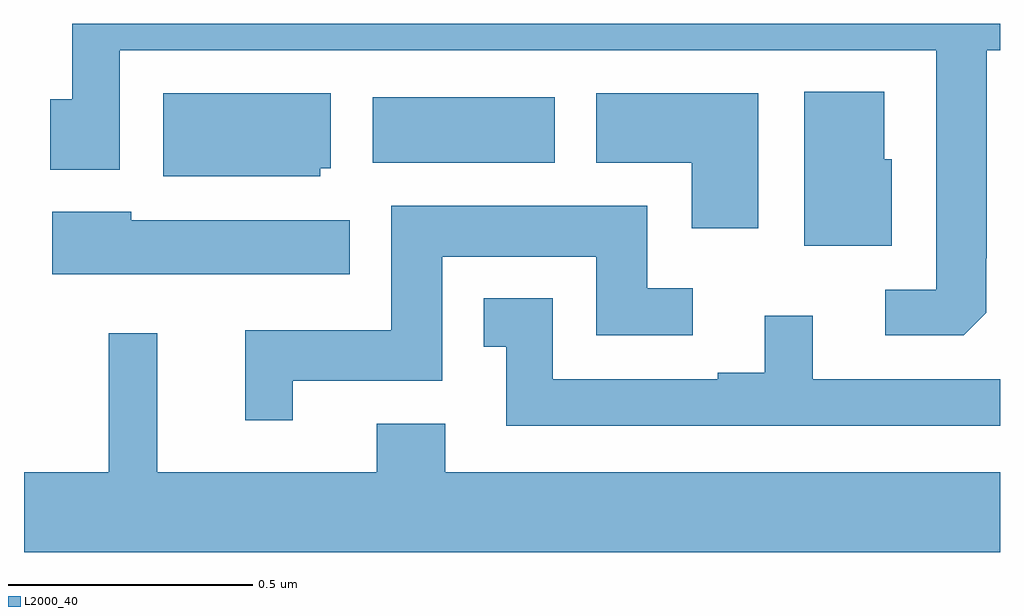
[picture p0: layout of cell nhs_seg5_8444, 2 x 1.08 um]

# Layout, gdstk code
import gdstk
lib = gdstk.Library(unit=1e-6, precision=1e-09)
def R(c, l, rs):  # rectangles x0, y0, x1, y1
    for r in rs: c.add(gdstk.rectangle(r[:2], r[2:], *l))
def P(c, l, *ps):  # polygons
    for p in ps: c.add(gdstk.Polygon(p, *l))
L2000_40 = (2000, 40)

nhs_seg5_8444 = lib.new_cell('nhs_seg5_8444')
R(nhs_seg5_8444, L2000_40, [(221.715,901.514,222.088,901.648)])
P(nhs_seg5_8444, L2000_40, [(222.972,901.207),(222.972,901.318),(222.973,901.318),(222.973,901.745),(223,901.745),(223,901.799),(221.099,901.799),(221.099,901.644),(221.054,901.644),(221.054,901.5),(221.196,901.5),(221.196,901.745),(222.869,901.745),(222.869,901.254),(222.765,901.254),(222.765,901.161),(222.926,901.161)],
  [(222.778,901.521),(222.763,901.521),(222.763,901.66),(222.599,901.66),(222.599,901.344),(222.778,901.344)],
  [(221.607,901.503),(221.629,901.503),(221.629,901.657),(221.285,901.657),(221.285,901.487),(221.607,901.487)],
  [(222.505,901.657),(222.173,901.657),(222.173,901.514),(222.368,901.514),(222.368,901.38),(222.505,901.38)],
  [(221.551,901.067),(221.857,901.067),(221.857,901.322),(222.173,901.322),(222.173,901.161),(222.37,901.161),(222.37,901.257),(222.277,901.257),(222.277,901.426),(221.753,901.426),(221.753,901.171),(221.453,901.171),(221.453,900.987),(221.551,900.987)],
  [(221.668,901.396),(221.22,901.396),(221.22,901.414),(221.058,901.414),(221.058,901.286),(221.668,901.286)],
  [(223,901.071),(222.616,901.071),(222.616,901.201),(222.518,901.201),(222.518,901.084),(222.422,901.084),(222.422,901.071),(222.084,901.071),(222.084,901.237),(221.942,901.237),(221.942,901.137),(221.988,901.137),(221.988,900.975),(223,900.975)],
  [(223,900.88),(221.863,900.88),(221.863,900.979),(221.723,900.979),(221.723,900.88),(221.273,900.88),(221.273,901.165),(221.174,901.165),(221.174,900.88),(221,900.88),(221,900.716),(223,900.716)])

lib.write_gds('nhs_seg5_8444.gds')
